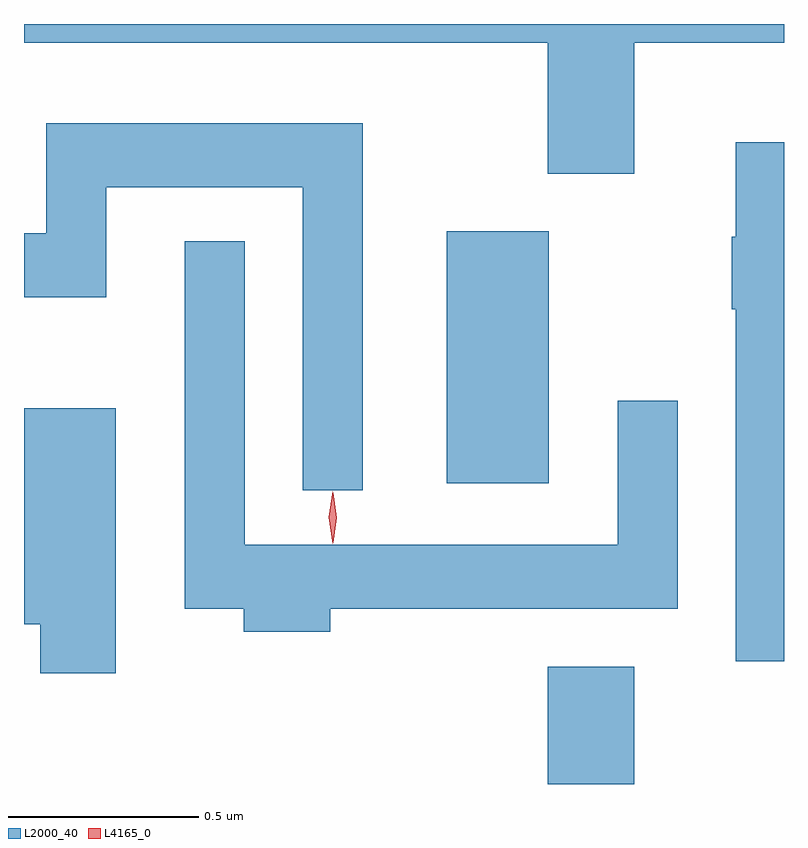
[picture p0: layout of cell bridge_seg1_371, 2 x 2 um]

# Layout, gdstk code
import gdstk
lib = gdstk.Library(unit=1e-6, precision=1e-09)
def R(c, l, rs):  # rectangles x0, y0, x1, y1
    for r in rs: c.add(gdstk.rectangle(r[:2], r[2:], *l))
def P(c, l, *ps):  # polygons
    for p in ps: c.add(gdstk.Polygon(p, *l))
L2000_40 = (2000, 40)
L4165_0 = (4165, 0)

bridge_seg1_371 = lib.new_cell('bridge_seg1_371')
R(bridge_seg1_371, L2000_40, [(938.131,873.205,938.359,873.514), (937.866,873.996,938.134,874.659)])
P(bridge_seg1_371, L2000_40, [(938.359,875.156),(938.753,875.156),(938.753,875.205),(936.753,875.205),(936.753,875.156),(938.131,875.156),(938.131,874.811),(938.359,874.811)],
  [(937.644,874.944),(936.811,874.944),(936.811,874.654),(936.753,874.654),(936.753,874.486),(936.969,874.486),(936.969,874.776),(937.486,874.776),(937.486,873.978),(937.644,873.978)],
  [(938.753,874.894),(938.626,874.894),(938.626,874.645),(938.616,874.645),(938.616,874.455),(938.626,874.455),(938.626,873.528),(938.753,873.528)],
  [(937.559,873.666),(938.474,873.666),(938.474,874.213),(938.316,874.213),(938.316,873.834),(937.334,873.834),(937.334,874.633),(937.176,874.633),(937.176,873.666),(937.331,873.666),(937.331,873.606),(937.559,873.606)],
  [(936.994,874.194),(936.753,874.194),(936.753,873.626),(936.796,873.626),(936.796,873.496),(936.994,873.496)])
P(bridge_seg1_371, L4165_0, [(937.565,873.837),(937.565,873.837),(937.555,873.907),(937.565,873.976),(937.565,873.976),(937.566,873.976),(937.575,873.907),(937.566,873.837)],
  [(937.566,873.84),(937.566,873.84),(937.556,873.906),(937.566,873.972),(937.566,873.973),(937.567,873.972),(937.576,873.906),(937.567,873.84)])

lib.write_gds('bridge_seg1_371.gds')
